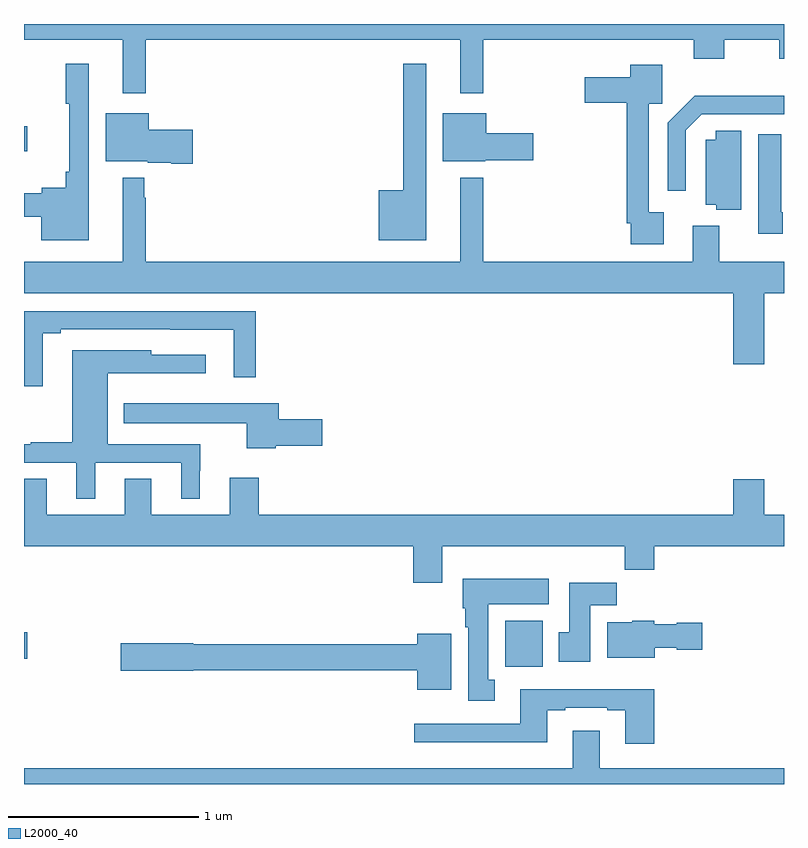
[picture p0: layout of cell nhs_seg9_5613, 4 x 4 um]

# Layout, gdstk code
import gdstk
lib = gdstk.Library(unit=1e-6, precision=1e-09)
def R(c, l, rs):  # rectangles x0, y0, x1, y1
    for r in rs: c.add(gdstk.rectangle(r[:2], r[2:], *l))
def P(c, l, *ps):  # polygons
    for p in ps: c.add(gdstk.Polygon(p, *l))
L2000_40 = (2000, 40)

nhs_seg9_5613 = lib.new_cell('nhs_seg9_5613')
R(nhs_seg9_5613, L2000_40, [(439.532,1197.116,439.729,1197.358), (437,1197.158,437.017,1197.3), (437,1199.831,437.017,1199.961)])
P(nhs_seg9_5613, L2000_40, [(437.641,1200.416),(439.295,1200.416),(439.295,1200.135),(439.417,1200.135),(439.417,1200.416),(440.525,1200.416),(440.525,1200.317),(440.685,1200.317),(440.685,1200.416),(440.974,1200.416),(440.974,1200.317),(441,1200.317),(441,1200.5),(437,1200.5),(437,1200.416),(437.519,1200.416),(437.519,1200.135),(437.641,1200.135)],
  [(439.117,1200.292),(438.996,1200.292),(438.996,1199.626),(438.866,1199.626),(438.866,1199.363),(439.117,1199.363)],
  [(437.341,1200.292),(437.22,1200.292),(437.22,1200.079),(437.237,1200.079),(437.237,1199.722),(437.22,1199.722),(437.22,1199.639),(437.094,1199.639),(437.094,1199.608),(437,1199.608),(437,1199.486),(437.09,1199.486),(437.09,1199.363),(437.341,1199.363)],
  [(440.368,1199.51),(440.289,1199.51),(440.289,1200.081),(440.358,1200.081),(440.358,1200.286),(440.192,1200.286),(440.192,1200.22),(439.95,1200.22),(439.95,1200.086),(440.173,1200.086),(440.173,1199.452),(440.193,1199.452),(440.193,1199.34),(440.368,1199.34)],
  [(440.484,1199.94),(440.568,1200.024),(441,1200.024),(441,1200.122),(440.529,1200.122),(440.388,1199.98),(440.388,1199.622),(440.484,1199.622)],
  [(437.887,1199.943),(437.656,1199.943),(437.656,1200.031),(437.429,1200.031),(437.429,1199.777),(437.652,1199.777),(437.652,1199.771),(437.774,1199.771),(437.774,1199.765),(437.887,1199.765)],
  [(439.428,1199.783),(439.681,1199.783),(439.681,1199.925),(439.432,1199.925),(439.432,1200.031),(439.205,1200.031),(439.205,1199.777),(439.428,1199.777)],
  [(440.776,1199.939),(440.64,1199.939),(440.64,1199.892),(440.588,1199.892),(440.588,1199.549),(440.643,1199.549),(440.643,1199.522),(440.776,1199.522)],
  [(440.994,1199.509),(440.986,1199.509),(440.986,1199.92),(440.864,1199.92),(440.864,1199.397),(440.994,1199.397)],
  [(440.896,1199.084),(441,1199.084),(441,1199.248),(440.659,1199.248),(440.659,1199.437),(440.519,1199.437),(440.519,1199.248),(439.417,1199.248),(439.417,1199.692),(439.295,1199.692),(439.295,1199.248),(437.641,1199.248),(437.641,1199.585),(437.633,1199.585),(437.633,1199.692),(437.519,1199.692),(437.519,1199.248),(437,1199.248),(437,1199.084),(440.732,1199.084),(440.732,1198.71),(440.896,1198.71)],
  [(437.098,1198.873),(437.194,1198.873),(437.194,1198.893),(437.77,1198.893),(437.77,1198.892),(438.104,1198.892),(438.104,1198.641),(438.221,1198.641),(438.221,1198.989),(437,1198.989),(437,1198.593),(437.098,1198.593)],
  [(437.374,1198.191),(437.828,1198.191),(437.828,1198.001),(437.926,1198.001),(437.926,1198.148),(437.928,1198.148),(437.928,1198.287),(437.44,1198.287),(437.44,1198.661),(437.956,1198.661),(437.956,1198.759),(437.67,1198.759),(437.67,1198.783),(437.255,1198.783),(437.255,1198.3),(437.035,1198.3),(437.035,1198.287),(437,1198.287),(437,1198.191),(437.276,1198.191),(437.276,1198.001),(437.374,1198.001)],
  [(438.324,1198.279),(438.571,1198.279),(438.571,1198.421),(438.341,1198.421),(438.341,1198.504),(437.525,1198.504),(437.525,1198.4),(438.173,1198.4),(438.173,1198.268),(438.324,1198.268)],
  [(439.201,1197.752),(440.161,1197.752),(440.161,1197.628),(440.318,1197.628),(440.318,1197.752),(441,1197.752),(441,1197.916),(440.896,1197.916),(440.896,1198.105),(440.732,1198.105),(440.732,1197.916),(438.236,1197.916),(438.236,1198.111),(438.083,1198.111),(438.083,1197.916),(437.671,1197.916),(437.671,1198.106),(437.531,1198.106),(437.531,1197.916),(437.119,1197.916),(437.119,1198.106),(437,1198.106),(437,1197.752),(439.049,1197.752),(439.049,1197.558),(439.201,1197.558)],
  [(439.477,1197.05),(439.444,1197.05),(439.444,1197.446),(439.762,1197.446),(439.762,1197.58),(439.31,1197.58),(439.31,1197.426),(439.322,1197.426),(439.322,1197.326),(439.337,1197.326),(439.337,1196.937),(439.477,1196.937)],
  [(439.981,1197.44),(440.12,1197.44),(440.12,1197.559),(439.871,1197.559),(439.871,1197.3),(439.814,1197.3),(439.814,1197.144),(439.981,1197.144)],
  [(440.32,1197.218),(440.436,1197.218),(440.436,1197.206),(440.569,1197.206),(440.569,1197.348),(440.436,1197.348),(440.436,1197.34),(440.316,1197.34),(440.316,1197.358),(440.202,1197.358),(440.202,1197.352),(440.069,1197.352),(440.069,1197.164),(440.32,1197.164)],
  [(439.249,1197.292),(439.07,1197.292),(439.07,1197.236),(437.892,1197.236),(437.892,1197.242),(437.508,1197.242),(437.508,1197.095),(437.892,1197.095),(437.892,1197.1),(439.07,1197.1),(439.07,1196.996),(439.249,1196.996)],
  [(440.318,1196.998),(439.613,1196.998),(439.613,1196.817),(439.053,1196.817),(439.053,1196.72),(439.753,1196.72),(439.753,1196.889),(439.849,1196.889),(439.849,1196.901),(440.069,1196.901),(440.069,1196.889),(440.165,1196.889),(440.165,1196.712),(440.318,1196.712)],
  [(441,1196.584),(440.029,1196.584),(440.029,1196.779),(439.889,1196.779),(439.889,1196.584),(437,1196.584),(437,1196.5),(441,1196.5)])

lib.write_gds('nhs_seg9_5613.gds')
